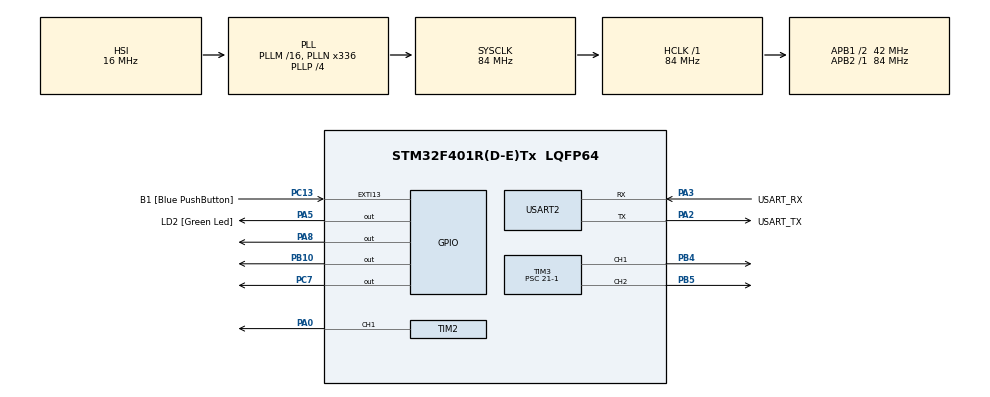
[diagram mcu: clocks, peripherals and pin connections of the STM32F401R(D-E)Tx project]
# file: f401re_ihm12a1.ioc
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Mcu.Family=STM32F4
Mcu.Name=STM32F401R(D-E)Tx
Mcu.Package=LQFP64
NVIC.EXTI15_10_IRQn=true\:0\:0\:false\:false\:true\:true\:true
NVIC.PriorityGroup=NVIC_PRIORITYGROUP_0
PA0-WKUP.Signal=S_TIM2_CH1_ETR
PA13.GPIO_Label=TMS
PA13.Mode=Serial_Wire
PA13.Signal=SYS_JTMS-SWDIO
PA14.GPIO_Label=TCK
PA14.Mode=Serial_Wire
PA14.Signal=SYS_JTCK-SWCLK
PA2.GPIO_Label=USART_TX
PA2.GPIO_Mode=GPIO_MODE_AF_PP
PA2.GPIO_PuPd=GPIO_NOPULL
PA2.GPIO_Speed=GPIO_SPEED_FREQ_LOW
PA2.Mode=Asynchronous
PA2.Signal=USART2_TX
PA3.GPIO_Label=USART_RX
PA3.GPIO_Mode=GPIO_MODE_AF_PP
PA3.GPIO_PuPd=GPIO_NOPULL
PA3.GPIO_Speed=GPIO_SPEED_FREQ_LOW
PA3.Mode=Asynchronous
PA3.Signal=USART2_RX
PA5.GPIO_Label=LD2 [Green Led]
PA5.GPIO_Mode=GPIO_MODE_OUTPUT_PP
PA5.GPIO_PuPd=GPIO_NOPULL
PA5.GPIO_Speed=GPIO_SPEED_FREQ_LOW
PA5.Signal=GPIO_Output
PA8.Signal=GPIO_Output
PB10.Signal=GPIO_Output
PB3.GPIO_Label=SWO
PB3.Signal=SYS_JTDO-SWO
PB4.Signal=S_TIM3_CH1
PB5.Signal=S_TIM3_CH2
PC13-ANTI_TAMP.GPIO_Label=B1 [Blue PushButton]
PC13-ANTI_TAMP.GPIO_ModeDefaultEXTI=GPIO_MODE_IT_FALLING
PC13-ANTI_TAMP.GPIO_PuPd=GPIO_NOPULL
PC13-ANTI_TAMP.Signal=GPXTI13
PC14-OSC32_IN.Mode=LSE-External-Oscillator
PC14-OSC32_IN.Signal=RCC_OSC32_IN
PC15-OSC32_OUT.Mode=LSE-External-Oscillator
PC15-OSC32_OUT.Signal=RCC_OSC32_OUT
PC7.Signal=GPIO_Output
PH0\ -\ OSC_IN.Mode=HSE-External-Clock-Source
PH0\ -\ OSC_IN.Signal=RCC_OSC_IN
PH1\ -\ OSC_OUT.Mode=HSE-External-Clock-Source
PH1\ -\ OSC_OUT.Signal=RCC_OSC_OUT
ProjectManager.HeapSize=0x200
ProjectManager.StackSize=0x400
ProjectManager.TargetToolchain=STM32CubeIDE
RCC.48MHZClocksFreq_Value=48000000
RCC.AHBFreq_Value=84000000
RCC.APB1CLKDivider=RCC_HCLK_DIV2
RCC.APB1Freq_Value=42000000
RCC.APB1TimFreq_Value=84000000
RCC.APB2Freq_Value=84000000
RCC.APB2TimFreq_Value=84000000
RCC.CortexFreq_Value=84000000
RCC.HCLKFreq_Value=84000000
RCC.HSE_VALUE=8000000
RCC.HSI_VALUE=16000000
RCC.PLLN=336
RCC.PLLP=RCC_PLLP_DIV4
RCC.PLLQ=7
RCC.SYSCLKFreq_VALUE=84000000
RCC.SYSCLKSource=RCC_SYSCLKSOURCE_PLLCLK
RCC.VCOOutputFreq_Value=336000000
SH.S_TIM2_CH1_ETR.0=TIM2_CH1,PWM Generation1 CH1
SH.S_TIM3_CH1.0=TIM3_CH1,PWM Generation1 CH1
SH.S_TIM3_CH2.0=TIM3_CH2,PWM Generation2 CH2
TIM2.Channel-PWM\ Generation1\ CH1=TIM_CHANNEL_1
TIM2.Period=100-1
TIM2.Prescaler=21-1
TIM3.Channel-PWM\ Generation1\ CH1=TIM_CHANNEL_1
TIM3.Channel-PWM\ Generation2\ CH2=TIM_CHANNEL_2
TIM3.Period=100-1
TIM3.Prescaler=21-1
USART2.VirtualMode=VM_ASYNC
board=NUCLEO-F401RE

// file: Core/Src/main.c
/* USER CODE BEGIN Header */
/**
  ******************************************************************************
  * @file           : main.c
  * @brief          : Main program body
  ******************************************************************************
  * @attention
  *
  * <h2><center>&copy; Copyright (c) 2020 STMicroelectronics.
  * All rights reserved.</center></h2>
  *
  * This software component is licensed by ST under BSD 3-Clause license,
  * the "License"; You may not use this file except in compliance with the
  * License. You may obtain a copy of the License at:
  *                        opensource.org/licenses/BSD-3-Clause
  *
  ******************************************************************************
  */
/* USER CODE END Header */

#include "main.h"

/* USER CODE BEGIN Includes */
#include <string.h>
#include <stdio.h>
#include <stdlib.h>
#include <errno.h>
#include <sys/unistd.h> // STDOUT_FILENO, STDERR_FILENO
/* USER CODE END Includes */

/* USER CODE BEGIN PD */
#define MAX_STEPS (12)
/* USER CODE END PD */

/* USER CODE BEGIN PM */
#define BUTTON_CONTROL 0
#define CONSOLE_CONTROL 1

#define MAX_BUF_LEN 2
/* USER CODE END PM */

TIM_HandleTypeDef htim2;
TIM_HandleTypeDef htim3;

UART_HandleTypeDef huart2;

/* USER CODE BEGIN PV */
static volatile uint16_t gLastError;
static volatile bool gButtonPressed = FALSE;
static volatile uint8_t gStep = MAX_STEPS;

Stspin240_250_Init_t gStspin240_250InitParams =
{
 {50, // 20000, Frequency of PWM of Input Bridge A in Hz up to 100000Hz
  50}, // 20000, Frequency of PWM of Input Bridge B in Hz up to 100000Hz
 50,                // 20000, Frequency of PWM used for Ref pin in Hz up to 100000Hz
 10,                   //50, Duty cycle of PWM used for Ref pin (from 0 to 100)
 TRUE                  // Dual Bridge configuration  (FALSE for mono, TRUE for dual brush dc)
};
/* USER CODE END PV */

void SystemClock_Config(void);
static void MX_GPIO_Init(void);
static void MX_TIM3_Init(void);
static void MX_USART2_UART_Init(void);
static void MX_TIM2_Init(void);
/* USER CODE BEGIN PFP */
static void MyFlagInterruptHandler(void);
void ButtonHandler(void);

/*custom system call for printf*/
int _write(int file, char *data, int len);
/* USER CODE END PFP */

int main(void)
{
  /* USER CODE BEGIN 1 */
#if CONSOLE_CONTROL
	uint16_t motor_0_dir = 0;
	char buf[MAX_BUF_LEN];
#endif
  /* USER CODE END 1 */

  /* MCU Configuration--------------------------------------------------------*/

  /* Reset of all peripherals, Initializes the Flash interface and the Systick. */
  HAL_Init();

  /* Configure the system clock */
  SystemClock_Config();

  /* Initialize all configured peripherals */
  MX_GPIO_Init();
  MX_TIM3_Init();
  MX_USART2_UART_Init();
  MX_TIM2_Init();
  /* USER CODE BEGIN 2 */
#if CONSOLE_CONTROL
  printf("Enter 01 for FWD dir or 02 for REV dir of Motor 0. Anything else to stop motor\r\n");
#endif
  /* Configure KEY Button */
    BSP_PB_Init(BUTTON_KEY, BUTTON_MODE_EXTI);

    /* Set Systick Interrupt to the highest priority to have HAL_Delay working*/
    /* under the user button handler */
    HAL_NVIC_SetPriority(SysTick_IRQn, 0x0, 0x0);

    //----- Init of the Motor control library
    /* Set the Stspin240_250 library to use 1 device */
    BSP_MotorControl_SetNbDevices(BSP_MOTOR_CONTROL_BOARD_ID_STSPIN240, 1);
    /* When BSP_MotorControl_Init is called with NULL pointer,                  */
    /* the Stspin240_250 library parameters are set with the predefined values from file   */
    /* stspin240_250_target_config.h, otherwise the registers are set using the   */
    /* Stspin240_250_Init_t pointer structure                */
    /* Uncomment the call to BSP_MotorControl_Init below to initialize the      */
    /* device with the structure gStspin240_250InitParams declared in the the main.c file */
    /* and comment the subsequent call having the NULL pointer                   */
    //BSP_MotorControl_Init(BSP_MOTOR_CONTROL_BOARD_ID_STSPIN240, &gStspin240_250InitParams);
    BSP_MotorControl_Init(BSP_MOTOR_CONTROL_BOARD_ID_STSPIN240, NULL);

    /* Set dual bridge enabled as two motors are used*/
    BSP_MotorControl_SetDualFullBridgeConfig(1);

    /* Attach the function MyFlagInterruptHandler (defined below) to the flag interrupt */
    BSP_MotorControl_AttachFlagInterrupt(MyFlagInterruptHandler);

    /* Attach the function Error_Handler (defined below) to the error Handler*/
    BSP_MotorControl_AttachErrorHandler(Error_Handler);

    /* Set PWM Frequency of Ref to 15000 Hz */
    BSP_MotorControl_SetRefFreq(0,15000);

    /* Set PWM duty cycle of Ref to 60% */
    BSP_MotorControl_SetRefDc(0,60);

    /* Set PWM Frequency of bridge A inputs to 10000 Hz */
    BSP_MotorControl_SetBridgeInputPwmFreq(0,10000);

    /* Set PWM Frequency of bridge B inputs to 10000 Hz */
    /* On X-NUCLEO-IHM12A1 expansion board PWM_A and PWM_B shares the same */
    /* timer, so frequency must be the same */
    BSP_MotorControl_SetBridgeInputPwmFreq(1,10000);

  /* USER CODE END 2 */

  /* Infinite loop */
  /* USER CODE BEGIN WHILE */
  while (1)
  {
#if BUTTON_CONTROL
	  /* Each time the user button is pressed, the step is increased by 1 */
	  if (gButtonPressed)
	  {
		gButtonPressed = FALSE;
		gStep++;
		if (gStep > MAX_STEPS)
		{
		  gStep = 0;
		}

		switch (gStep)
		{
		  case 0:
			/*********** Step 0  ************/
			/* Set speed of motor 0 to 100 % */
			BSP_MotorControl_SetMaxSpeed(0,100);
			/* start motor 0 to run forward*/
			/* if chip is in standby mode */
			/* it is automatically awakened */
			BSP_MotorControl_Run(0, FORWARD);
			break;

		   case 1:
			/*********** Step 1  ************/
			/* Set speed of motor 0 to 75 % */
			BSP_MotorControl_SetMaxSpeed(0,75);
			/* Set speed of motor 1 to 100 % */
			BSP_MotorControl_SetMaxSpeed(1,100);
			/* start motor 1 to run backward */
			BSP_MotorControl_Run(1, BACKWARD);
			break;

		  case 2:
			/*********** Step 2 ************/
			/* Set speed of motor 0 to 50 % */
			BSP_MotorControl_SetMaxSpeed(0,50);
		   /* Set speed of motor 1 to 75% */
			BSP_MotorControl_SetMaxSpeed(1,75);
			break;

		  case 3:
			/*********** Step 3 ************/
			/* Set speed of motor 0 to 25 % */
			BSP_MotorControl_SetMaxSpeed(0,25);
			/* Set speed of motor 1 to 50% */
			BSP_MotorControl_SetMaxSpeed(1,50);
			break;

		  case 4:
			/*********** Step 4 ************/
			/* Stop Motor 0 */
			BSP_MotorControl_HardStop(0);
			/* Set speed of motor 1 to 25% */
			BSP_MotorControl_SetMaxSpeed(1,25);
			break;
		   case 5:
			/*********** Step 5  ************/
			/* Set speed of motor 0 to 25 % */
			BSP_MotorControl_SetMaxSpeed(0,25);
			/* start motor 0 to run backward */
			BSP_MotorControl_Run(0, BACKWARD);
			/* Stop Motor 1 */
			BSP_MotorControl_HardStop(1);
			break;

		   case 6:
			/*********** Step 6  ************/
			/* Set speed of motor 0 to 50 % */
			BSP_MotorControl_SetMaxSpeed(0,50);
			/* Set speed of motor 1 to 25 % */
			BSP_MotorControl_SetMaxSpeed(1,25);
			/* start motor 1 to run backward */
			BSP_MotorControl_Run(1, FORWARD);
			break;

		  case 7:
			/*********** Step 7 ************/
			/* Set speed of motor 0 to 75 % */
			BSP_MotorControl_SetMaxSpeed(0,75);
			/* Set speed of motor 1 to 50 % */
			BSP_MotorControl_SetMaxSpeed(1,50);
			break;

		  case 8:
			/*********** Step 8 ************/
			/* Set speed of motor 0 to 100 % */
			BSP_MotorControl_SetMaxSpeed(0,100);
			/* Set speed of motor 1 to 75 % */
			BSP_MotorControl_SetMaxSpeed(1,75);
			break;

		  case 9:
			/*********** Step 9 ************/
			/* Set speed of motor 1 to 100 % */
			BSP_MotorControl_SetMaxSpeed(1,100);
			break;
		  case 10:
			/*********** Step 10 ************/
			/* Stop both motors and disable bridge */
			BSP_MotorControl_CmdHardHiZ(0);
			BSP_MotorControl_CmdHardHiZ(1);
			break;
		  case 11:
			/*********** Step 10 ************/
			/* Start both motors to go forward*/
			BSP_MotorControl_Run(0,FORWARD);
			BSP_MotorControl_Run(1,FORWARD);
			break;
		  case 12:
		  default:
			/*********** Step 10 ************/
			/* Stop both motors and put chip in standby mode */
			BSP_MotorControl_Reset(0);
			break;
		}
	  }
#endif

#if CONSOLE_CONTROL
	  while(HAL_UART_Receive(&huart2, (uint8_t*)buf, 2, 0xFFFF) != HAL_OK);
	  motor_0_dir = atoi(buf);
	  if(1 == motor_0_dir)
	  {
		  printf("Selected: Motor 0 Fwd \r\n");
		  BSP_MotorControl_SetMaxSpeed(0,100);
		  BSP_MotorControl_Run(0, FORWARD);
	  }
	  else if(2 == motor_0_dir)
	  {
		  printf("Selected: Motor 0 Rev\r\n");
		  BSP_MotorControl_SetMaxSpeed(0,100);
		  BSP_MotorControl_Run(0, BACKWARD);
	  }
	  else
	  {
		  printf("Stop both motors and disable bridge \r\n");
		  /* Stop both motors and disable bridge */
		  BSP_MotorControl_CmdHardHiZ(0);
		  BSP_MotorControl_CmdHardHiZ(1);
	  }
#endif
    /* USER CODE END WHILE */

  }
}

void SystemClock_Config(void)
{
  RCC_OscInitTypeDef RCC_OscInitStruct = {0};
  RCC_ClkInitTypeDef RCC_ClkInitStruct = {0};

  /** Configure the main internal regulator output voltage
  */
  __HAL_RCC_PWR_CLK_ENABLE();
  __HAL_PWR_VOLTAGESCALING_CONFIG(PWR_REGULATOR_VOLTAGE_SCALE2);
  /** Initializes the CPU, AHB and APB busses clocks
  */
  RCC_OscInitStruct.OscillatorType = RCC_OSCILLATORTYPE_HSI;
  RCC_OscInitStruct.HSIState = RCC_HSI_ON;
  RCC_OscInitStruct.HSICalibrationValue = RCC_HSICALIBRATION_DEFAULT;
  RCC_OscInitStruct.PLL.PLLState = RCC_PLL_ON;
  RCC_OscInitStruct.PLL.PLLSource = RCC_PLLSOURCE_HSI;
  RCC_OscInitStruct.PLL.PLLM = 16;
  RCC_OscInitStruct.PLL.PLLN = 336;
  RCC_OscInitStruct.PLL.PLLP = RCC_PLLP_DIV4;
  RCC_OscInitStruct.PLL.PLLQ = 7;
  if (HAL_RCC_OscConfig(&RCC_OscInitStruct) != HAL_OK)
  {
    Error_Handler();
  }
  /** Initializes the CPU, AHB and APB busses clocks
  */
  RCC_ClkInitStruct.ClockType = RCC_CLOCKTYPE_HCLK|RCC_CLOCKTYPE_SYSCLK
                              |RCC_CLOCKTYPE_PCLK1|RCC_CLOCKTYPE_PCLK2;
  RCC_ClkInitStruct.SYSCLKSource = RCC_SYSCLKSOURCE_PLLCLK;
  RCC_ClkInitStruct.AHBCLKDivider = RCC_SYSCLK_DIV1;
  RCC_ClkInitStruct.APB1CLKDivider = RCC_HCLK_DIV2;
  RCC_ClkInitStruct.APB2CLKDivider = RCC_HCLK_DIV1;

  if (HAL_RCC_ClockConfig(&RCC_ClkInitStruct, FLASH_LATENCY_2) != HAL_OK)
  {
    Error_Handler();
  }
}

static void MX_TIM2_Init(void)
{

  TIM_MasterConfigTypeDef sMasterConfig = {0};
  TIM_OC_InitTypeDef sConfigOC = {0};

  htim2.Instance = TIM2;
  htim2.Init.Prescaler = 21-1;
  htim2.Init.CounterMode = TIM_COUNTERMODE_UP;
  htim2.Init.Period = 100-1;
  htim2.Init.ClockDivision = TIM_CLOCKDIVISION_DIV1;
  htim2.Init.AutoReloadPreload = TIM_AUTORELOAD_PRELOAD_DISABLE;
  if (HAL_TIM_PWM_Init(&htim2) != HAL_OK)
  {
    Error_Handler();
  }
  sMasterConfig.MasterOutputTrigger = TIM_TRGO_RESET;
  sMasterConfig.MasterSlaveMode = TIM_MASTERSLAVEMODE_DISABLE;
  if (HAL_TIMEx_MasterConfigSynchronization(&htim2, &sMasterConfig) != HAL_OK)
  {
    Error_Handler();
  }
  sConfigOC.OCMode = TIM_OCMODE_PWM1;
  sConfigOC.Pulse = 0;
  sConfigOC.OCPolarity = TIM_OCPOLARITY_HIGH;
  sConfigOC.OCFastMode = TIM_OCFAST_DISABLE;
  if (HAL_TIM_PWM_ConfigChannel(&htim2, &sConfigOC, TIM_CHANNEL_1) != HAL_OK)
  {
    Error_Handler();
  }
  HAL_TIM_MspPostInit(&htim2);

}

static void MX_TIM3_Init(void)
{

  TIM_MasterConfigTypeDef sMasterConfig = {0};
  TIM_OC_InitTypeDef sConfigOC = {0};

  htim3.Instance = TIM3;
  htim3.Init.Prescaler = 21-1;
  htim3.Init.CounterMode = TIM_COUNTERMODE_UP;
  htim3.Init.Period = 100-1;
  htim3.Init.ClockDivision = TIM_CLOCKDIVISION_DIV1;
  htim3.Init.AutoReloadPreload = TIM_AUTORELOAD_PRELOAD_DISABLE;
  if (HAL_TIM_PWM_Init(&htim3) != HAL_OK)
  {
    Error_Handler();
  }
  sMasterConfig.MasterOutputTrigger = TIM_TRGO_RESET;
  sMasterConfig.MasterSlaveMode = TIM_MASTERSLAVEMODE_DISABLE;
  if (HAL_TIMEx_MasterConfigSynchronization(&htim3, &sMasterConfig) != HAL_OK)
  {
    Error_Handler();
  }
  sConfigOC.OCMode = TIM_OCMODE_PWM1;
  sConfigOC.Pulse = 0;
  sConfigOC.OCPolarity = TIM_OCPOLARITY_HIGH;
  sConfigOC.OCFastMode = TIM_OCFAST_DISABLE;
  if (HAL_TIM_PWM_ConfigChannel(&htim3, &sConfigOC, TIM_CHANNEL_1) != HAL_OK)
  {
    Error_Handler();
  }
  if (HAL_TIM_PWM_ConfigChannel(&htim3, &sConfigOC, TIM_CHANNEL_2) != HAL_OK)
  {
    Error_Handler();
  }
  HAL_TIM_MspPostInit(&htim3);

}

static void MX_USART2_UART_Init(void)
{

  huart2.Instance = USART2;
  huart2.Init.BaudRate = 115200;
  huart2.Init.WordLength = UART_WORDLENGTH_8B;
  huart2.Init.StopBits = UART_STOPBITS_1;
  huart2.Init.Parity = UART_PARITY_NONE;
  huart2.Init.Mode = UART_MODE_TX_RX;
  huart2.Init.HwFlowCtl = UART_HWCONTROL_NONE;
  huart2.Init.OverSampling = UART_OVERSAMPLING_16;
  if (HAL_UART_Init(&huart2) != HAL_OK)
  {
    Error_Handler();
  }

}

static void MX_GPIO_Init(void)
{
  GPIO_InitTypeDef GPIO_InitStruct = {0};

  /* GPIO Ports Clock Enable */
  __HAL_RCC_GPIOC_CLK_ENABLE();
  __HAL_RCC_GPIOH_CLK_ENABLE();
  __HAL_RCC_GPIOA_CLK_ENABLE();
  __HAL_RCC_GPIOB_CLK_ENABLE();

  /*Configure GPIO pin Output Level */
  HAL_GPIO_WritePin(GPIOA, LD2_Pin|GPIO_PIN_8, GPIO_PIN_RESET);

  /*Configure GPIO pin Output Level */
  HAL_GPIO_WritePin(GPIOB, GPIO_PIN_10, GPIO_PIN_RESET);

  /*Configure GPIO pin Output Level */
  HAL_GPIO_WritePin(GPIOC, GPIO_PIN_7, GPIO_PIN_RESET);

  /*Configure GPIO pin : B1_Pin */
  GPIO_InitStruct.Pin = B1_Pin;
  GPIO_InitStruct.Mode = GPIO_MODE_IT_FALLING;
  GPIO_InitStruct.Pull = GPIO_NOPULL;
  HAL_GPIO_Init(B1_GPIO_Port, &GPIO_InitStruct);

  /*Configure GPIO pins : LD2_Pin PA8 */
  GPIO_InitStruct.Pin = LD2_Pin|GPIO_PIN_8;
  GPIO_InitStruct.Mode = GPIO_MODE_OUTPUT_PP;
  GPIO_InitStruct.Pull = GPIO_NOPULL;
  GPIO_InitStruct.Speed = GPIO_SPEED_FREQ_LOW;
  HAL_GPIO_Init(GPIOA, &GPIO_InitStruct);

  /*Configure GPIO pin : PB10 */
  GPIO_InitStruct.Pin = GPIO_PIN_10;
  GPIO_InitStruct.Mode = GPIO_MODE_OUTPUT_PP;
  GPIO_InitStruct.Pull = GPIO_NOPULL;
  GPIO_InitStruct.Speed = GPIO_SPEED_FREQ_LOW;
  HAL_GPIO_Init(GPIOB, &GPIO_InitStruct);

  /*Configure GPIO pin : PC7 */
  GPIO_InitStruct.Pin = GPIO_PIN_7;
  GPIO_InitStruct.Mode = GPIO_MODE_OUTPUT_PP;
  GPIO_InitStruct.Pull = GPIO_NOPULL;
  GPIO_InitStruct.Speed = GPIO_SPEED_FREQ_LOW;
  HAL_GPIO_Init(GPIOC, &GPIO_InitStruct);

  /* EXTI interrupt init*/
  HAL_NVIC_SetPriority(EXTI15_10_IRQn, 0, 0);
  HAL_NVIC_EnableIRQ(EXTI15_10_IRQn);

}

/* USER CODE BEGIN 4 */

/**
  * @brief  This function is the User handler for the flag interrupt
  * @param  None
  * @retval None
  */
void MyFlagInterruptHandler(void)
{
  /* Code to be customised */
  /************************/
  /* Get the state of bridge A */
  uint16_t bridgeState  = BSP_MotorControl_CmdGetStatus(0);

  if (bridgeState == 0)
  {
    if (BSP_MotorControl_GetDeviceState(0) != INACTIVE)
    {
      /* Bridges were disabled due to overcurrent or over temperature */
      /* When  motor was running */
        Error_Handler();
    }
  }
 }

/**
  * @brief  This function is executed when the Nucleo User button is pressed
  * @param  error number of the error
  * @retval None
  */
void ButtonHandler(void)
{
  gButtonPressed = TRUE;

  /* Let 300 ms before clearing the IT for key debouncing */
  HAL_Delay(300);
  __HAL_GPIO_EXTI_CLEAR_IT(KEY_BUTTON_PIN);
  HAL_NVIC_ClearPendingIRQ(KEY_BUTTON_EXTI_IRQn);
}

int _write(int file, char *data, int len)
{
	if ((file != STDOUT_FILENO) && (file != STDERR_FILENO))
	{
	  errno = EBADF;
	  return -1;
	}

	// arbitrary timeout 1000
	HAL_StatusTypeDef status =
	  HAL_UART_Transmit(&huart2, (uint8_t*)data, len, 1000);

	// return # of bytes written - as best we can tell
	return (status == HAL_OK ? len : 0);
}

/* USER CODE END 4 */

void Error_Handler(void)
{
	  while(1)
	  {
	  }
}

/************************ (C) COPYRIGHT STMicroelectronics *****END OF FILE****/
